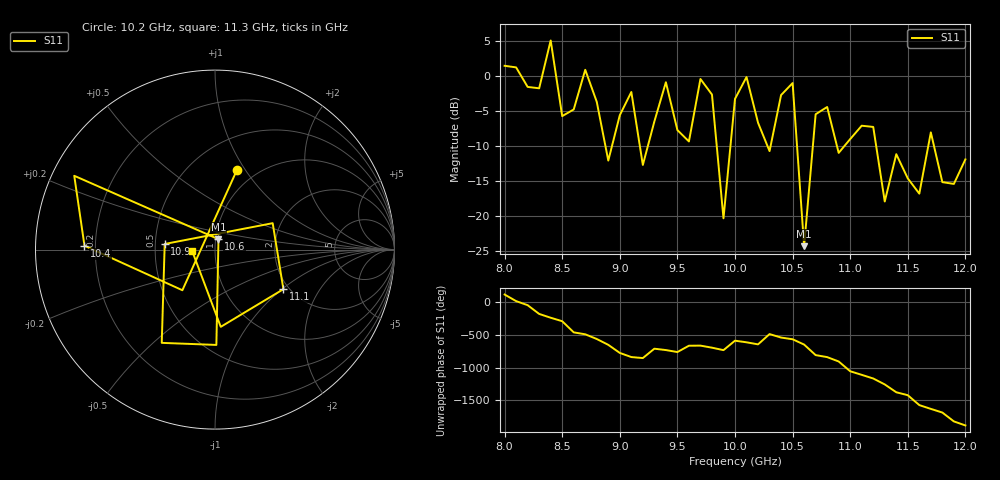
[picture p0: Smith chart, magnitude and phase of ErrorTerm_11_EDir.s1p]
!  1-Port S-parameters saved by WinCal
! VAR NAME=2-Port SOLT labuser 3
! VAR Error Term Name=EDir phys rcv port 1 phys src port 1
# Hz S RI R 50
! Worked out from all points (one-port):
!   41 points, 8 GHz to 12 GHz, reference 50 ohm
!   lowest |S11| = -24.3 dB at 10.6 GHz (marker M1), VSWR 1.13, Z = 51.6 + j6 ohm
!   |S11| at or under -10 dB: 8.875 GHz to 8.932 GHz (57.37 MHz wide, 0.644 % of centre); 11.23 GHz to 11.68 GHz (452.5 MHz wide, 3.95 % of centre); 11.73 GHz to end of sweep (the widest 3 of 8)
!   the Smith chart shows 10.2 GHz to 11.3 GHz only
!   S11 on the Smith chart (normalised r, x): 10.2 GHz: 0.81, +0.92; 10.4 GHz: 0.16, +0.01; 10.6 GHz: 1.03, +0.12; 10.9 GHz: 0.56, +0.04; 11.1 GHz: 1.87, -1.02; 11.3 GHz: 0.77, -0.01
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8e9  -0.4765 1.075
8.1e9  1.112 0.2739
8.2e9  0.5539 -0.6201
8.3e9  -0.8127 0.0226
8.4e9  -0.8997 1.537
8.5e9  0.1977 0.4759
8.7e9  -0.739 -0.8163
8.8e9  -0.5961 0.2614
9e9  0.2932 -0.4332
9.1e9  -0.371 -0.6692
9.2e9  -0.1617 -0.1654
9.4e9  0.8773 -0.1917
9.5e9  0.3012 -0.2778
9.7e9  0.5394 0.7784
9.8e9  0.67 0.2992
9.9e9  0.0938 -0.0226
1e10  -0.4452 0.5183
1.02e10  0.1231 0.4454
1.04e10  -0.7271 0.0216
1.05e10  -0.7842 0.4113
1.06e10  0.0194 0.0579
1.07e10  0.00762 -0.5311
1.09e10  -0.2802 0.0313
1.1e10  0.3214 0.1473
1.11e10  0.381 -0.2206
1.13e10  -0.1268 -0.00879
1.15e10  0.1748 0.0622
1.2e10  0.0376 -0.2506
